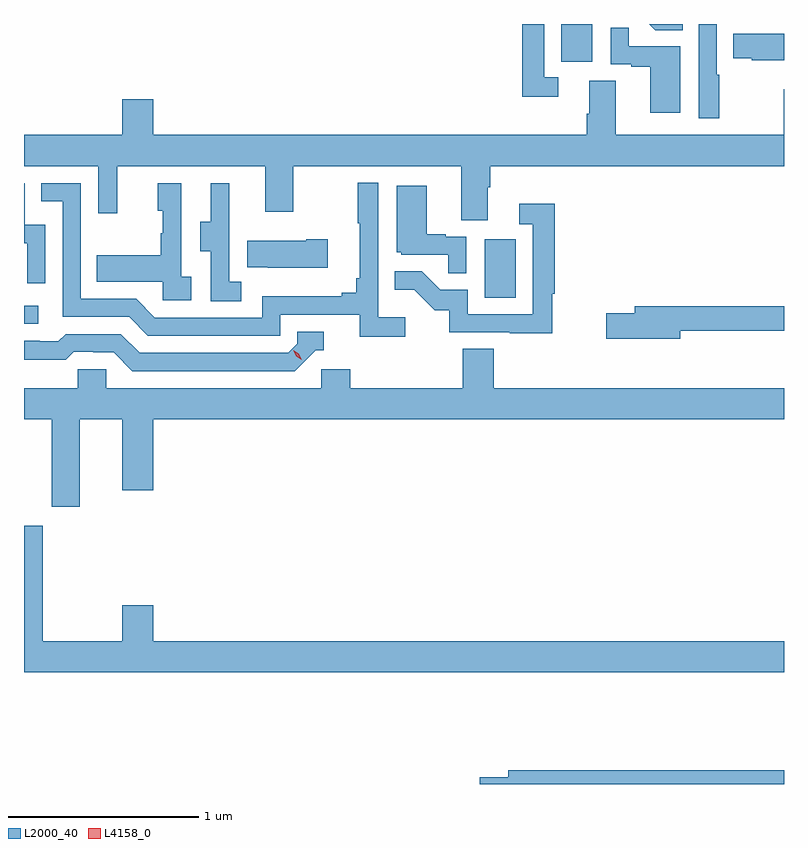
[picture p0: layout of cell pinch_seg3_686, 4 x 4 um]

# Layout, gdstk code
import gdstk
lib = gdstk.Library(unit=1e-6, precision=1e-09)
def R(c, l, rs):  # rectangles x0, y0, x1, y1
    for r in rs: c.add(gdstk.rectangle(r[:2], r[2:], *l))
def P(c, l, *ps):  # polygons
    for p in ps: c.add(gdstk.Polygon(p, *l))
L2000_40 = (2000, 40)
L4158_0 = (4158, 0)

pinch_seg3_686 = lib.new_cell('pinch_seg3_686')
R(pinch_seg3_686, L2000_40, [(1111.543,674.778,1111.618,674.874), (1113.968,674.916,1114.132,675.223), (1114.37,676.158,1114.534,676.356)])
P(pinch_seg3_686, L2000_40, [(1115.009,676.356),(1114.833,676.356),(1114.865,676.324),(1115.009,676.324)],
  [(1114.354,676.077),(1114.281,676.077),(1114.281,676.356),(1114.165,676.356),(1114.165,675.972),(1114.354,675.972)],
  [(1115.203,676.088),(1115.19,676.088),(1115.19,676.356),(1115.094,676.356),(1115.094,675.861),(1115.203,675.861)],
  [(1114.996,676.239),(1114.727,676.239),(1114.727,676.337),(1114.632,676.337),(1114.632,676.143),(1114.739,676.143),(1114.739,676.131),(1114.838,676.131),(1114.838,675.888),(1114.996,675.888)],
  [(1115.543,676.306),(1115.275,676.306),(1115.275,676.177),(1115.373,676.177),(1115.373,676.166),(1115.543,676.166)],
  [(1113.985,675.496),(1113.998,675.496),(1113.998,675.608),(1115.543,675.608),(1115.543,676.012),(1115.542,676.012),(1115.542,675.772),(1114.657,675.772),(1114.657,676.058),(1114.517,676.058),(1114.517,675.884),(1114.505,675.884),(1114.505,675.772),(1112.224,675.772),(1112.224,675.961),(1112.06,675.961),(1112.06,675.772),(1111.543,675.772),(1111.543,675.608),(1111.935,675.608),(1111.935,675.36),(1112.033,675.36),(1112.033,675.608),(1112.813,675.608),(1112.813,675.369),(1112.961,675.369),(1112.961,675.608),(1113.845,675.608),(1113.845,675.322),(1113.985,675.322)],
  [(1113.55,674.812),(1113.408,674.812),(1113.408,675.52),(1113.3,675.52),(1113.3,675.307),(1113.311,675.307),(1113.311,675.019),(1113.292,675.019),(1113.292,674.942),(1113.215,674.942),(1113.215,674.923),(1112.796,674.923),(1112.796,674.811),(1112.232,674.811),(1112.133,674.91),(1111.842,674.91),(1111.842,675.519),(1111.633,675.519),(1111.633,675.423),(1111.746,675.423),(1111.746,674.814),(1112.096,674.814),(1112.195,674.715),(1112.892,674.715),(1112.892,674.826),(1113.311,674.826),(1113.311,674.71),(1113.55,674.71)],
  [(1111.656,675.3),(1111.548,675.3),(1111.548,675.519),(1111.543,675.519),(1111.543,675.203),(1111.56,675.203),(1111.56,674.991),(1111.656,674.991)],
  [(1112.422,675.026),(1112.37,675.026),(1112.37,675.517),(1112.246,675.517),(1112.246,675.372),(1112.272,675.372),(1112.272,675.254),(1112.262,675.254),(1112.262,675.139),(1111.927,675.139),(1111.927,674.999),(1112.274,674.999),(1112.274,674.901),(1112.422,674.901)],
  [(1112.686,674.999),(1112.622,674.999),(1112.622,675.303),(1112.624,675.303),(1112.624,675.517),(1112.525,675.517),(1112.525,675.315),(1112.471,675.315),(1112.471,675.16),(1112.526,675.16),(1112.526,674.896),(1112.686,674.896)],
  [(1113.87,675.237),(1113.764,675.237),(1113.764,675.25),(1113.664,675.25),(1113.664,675.505),(1113.506,675.505),(1113.506,675.156),(1113.528,675.156),(1113.528,675.141),(1113.775,675.141),(1113.775,675.043),(1113.87,675.043)],
  [(1114.322,674.936),(1114.337,674.936),(1114.337,675.409),(1114.149,675.409),(1114.149,675.303),(1114.221,675.303),(1114.221,674.829),(1113.879,674.829),(1113.879,674.958),(1113.735,674.958),(1113.637,675.056),(1113.493,675.056),(1113.493,674.957),(1113.597,674.957),(1113.704,674.85),(1113.781,674.85),(1113.781,674.733),(1114.099,674.733),(1114.099,674.728),(1114.322,674.728)],
  [(1113.142,675.222),(1113.029,675.222),(1113.029,675.214),(1112.719,675.214),(1112.719,675.077),(1112.827,675.077),(1112.827,675.074),(1113.142,675.074)],
  [(1114.996,674.742),(1115.543,674.742),(1115.543,674.87),(1114.757,674.87),(1114.757,674.834),(1114.608,674.834),(1114.608,674.699),(1114.996,674.699)],
  [(1113.078,674.64),(1113.121,674.64),(1113.121,674.736),(1112.982,674.736),(1112.982,674.673),(1112.934,674.625),(1112.151,674.625),(1112.052,674.724),(1111.763,674.724),(1111.724,674.685),(1111.625,674.685),(1111.625,674.688),(1111.543,674.688),(1111.543,674.589),(1111.763,674.589),(1111.805,674.631),(1111.908,674.631),(1111.908,674.628),(1112.015,674.628),(1112.114,674.529),(1112.967,674.529)],
  [(1111.837,674.276),(1112.06,674.276),(1112.06,673.902),(1112.224,673.902),(1112.224,674.276),(1115.543,674.276),(1115.543,674.44),(1114.016,674.44),(1114.016,674.648),(1113.851,674.648),(1113.851,674.44),(1113.26,674.44),(1113.26,674.538),(1113.108,674.538),(1113.108,674.44),(1111.977,674.44),(1111.977,674.538),(1111.827,674.538),(1111.827,674.44),(1111.543,674.44),(1111.543,674.276),(1111.69,674.276),(1111.69,673.815),(1111.837,673.815)],
  [(1115.543,673.108),(1112.224,673.108),(1112.224,673.297),(1112.06,673.297),(1112.06,673.108),(1111.642,673.108),(1111.642,673.714),(1111.543,673.714),(1111.543,672.944),(1115.543,672.944)],
  [(1115.543,672.428),(1114.091,672.428),(1114.091,672.392),(1113.942,672.392),(1113.942,672.356),(1115.543,672.356)])
P(pinch_seg3_686, L4158_0, [(1113.006,674.588),(1112.975,674.607),(1112.959,674.64),(1112.959,674.64),(1112.959,674.64),(1112.99,674.621),(1113.006,674.588),(1113.006,674.588)])

lib.write_gds('pinch_seg3_686.gds')
